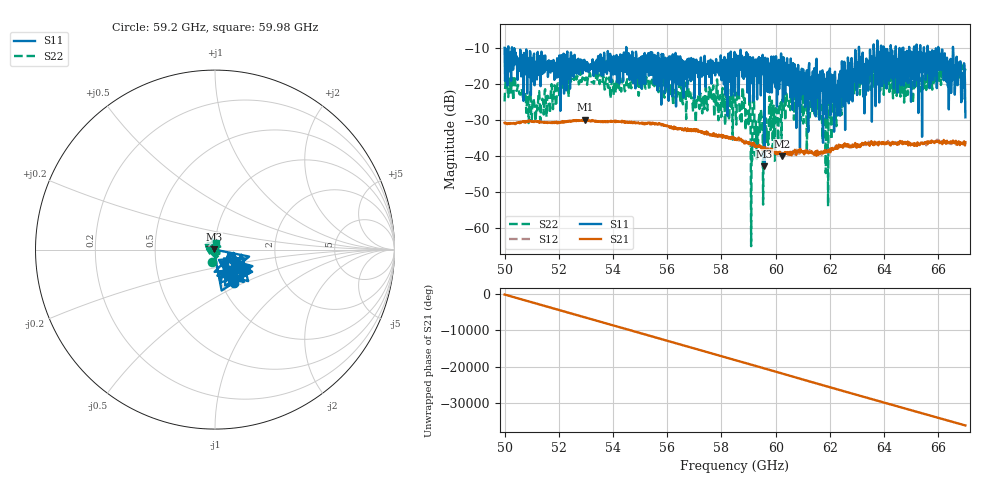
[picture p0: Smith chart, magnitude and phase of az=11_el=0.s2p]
!Created with skrf (http://scikit-rf.org).
# GHz S RI R 50.0
!freq ReS11 ImS11 ReS21 ImS21 ReS12 ImS12 ReS22 ImS22
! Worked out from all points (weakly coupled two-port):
!   1001 points, 50 GHz to 67 GHz, reference 50 ohm
!   highest |S21| = -29.89 dB at 52.98 GHz (marker M1); lowest = -40.1 dB at 60.25 GHz (marker M2)
!   lowest |S11| = -42.8 dB at 59.59 GHz (marker M3), VSWR 1.01, Z = 49.3 + j0.103 ohm
!   |S11| at or under -10 dB: 50.27 GHz to 54.49 GHz (4.215 GHz wide, 8.05 % of centre); 54.49 GHz to 63.07 GHz (8.583 GHz wide, 14.6 % of centre); 63.08 GHz to 63.61 GHz (539.3 MHz wide, 0.851 % of centre) (the widest 3 of 21)
!   |S22| runs from -65.0 to -14.0 dB; largest |S21 - S12| = 0.0021
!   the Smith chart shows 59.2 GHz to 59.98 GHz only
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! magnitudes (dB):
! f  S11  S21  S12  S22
! 50 GHz  -9.9  -30.8  -30.6  -24.8
! 50.42 GHz  -13.9  -30.7  -30.8  -21.8
! 51.07 GHz  -12.2  -30.4  -30.3  -24.2
! 52.84 GHz  -14.1  -30.0  -30.2  -19.4
! 52.98 GHz  -16.0  -29.9  -29.9  -18.9
! 55.68 GHz  -13.2  -31.1  -31.0  -22.2
! 57 GHz  -24.0  -32.5  -32.7  -22.0
! 57.62 GHz  -15.5  -34.0  -33.9  -21.8
! 58.5 GHz  -23.2  -35.1  -35.1  -24.2
! 58.86 GHz  -17.4  -36.4  -36.0  -23.9
! 59.06 GHz  -12.5  -36.5  -36.0  -26.3
! 59.23 GHz  -16.5  -37.4  -37.1  -39.8
! 59.59 GHz  -42.8  -37.9  -37.4  -29.5
! 60.25 GHz  -16.8  -40.1  -39.4  -24.3
! 61.34 GHz  -26.3  -39.2  -39.1  -25.5
! 61.88 GHz  -29.5  -38.7  -38.7  -23.0
! 62.6 GHz  -19.8  -36.8  -36.8  -19.3
! 64.18 GHz  -19.0  -36.4  -36.7  -18.5
! 66.08 GHz  -15.6  -36.3  -36.3  -15.6
! 66.42 GHz  -15.5  -36.1  -36.6  -16.2
! 66.75 GHz  -17.7  -36.6  -36.2  -18.4
! 67 GHz  -29.2  -36.1  -36.3  -15.7
